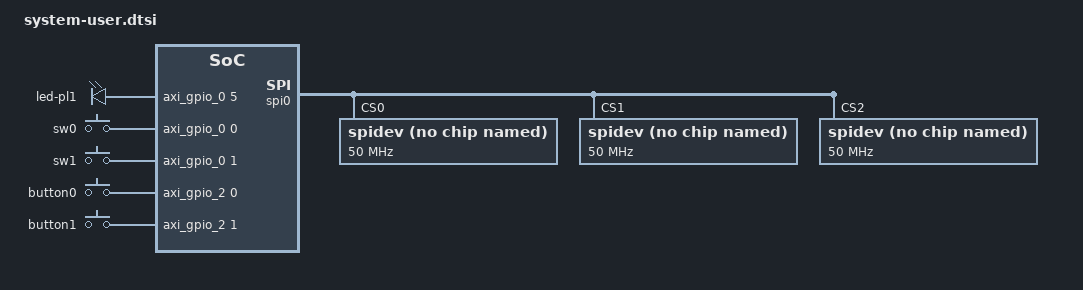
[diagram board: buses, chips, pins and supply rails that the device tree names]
/include/ "system-conf.dtsi"
#include <dt-bindings/phy/phy.h>
/ {
	gpio-leds {
    		compatible = "gpio-leds";
    		led-pl1 {
        		label = "led-pl1";
        		gpios = <&axi_gpio_0 5 0>;
        		default-state = "on";
        		linux,default-trigger = "heartbeat";
    		};
	};
	
	gpio-keys-polled {
    		compatible = "gpio-keys-polled";
    		poll-interval = <10>;
    		#address-cells = <1>;
    		#size-cells = <0>;
    		autorepeat;
    		sw0 {
        		label = "sw0";
        		gpios = <&axi_gpio_0 0 0>;
        		linux,code = <108>; /* down */
        		autorepeat;
    		};
    		sw1 {
        		label = "sw1";
			gpios = <&axi_gpio_0 1 0>;
			linux,code = <103>; /* up */
			autorepeat;
    		};
	};
	
	gpio-keys {
    		compatible = "gpio-keys";
	    	#address-cells = <1>;
	    	#size-cells = <0>;
	    	autorepeat;
	    	button0 {
			label = "button0";
			gpios = <&axi_gpio_2 0 0>;
			linux,code = <108>; /* down */
			gpio-key,wakeup;
			autorepeat;
	    	};
	    	button1 {
			label = "button1";
			gpios = <&axi_gpio_2 1 0>;
			linux,code = <103>; /* up */
			gpio-key,wakeup;
			autorepeat;
	    	};
	};
};

&spi0 {
	status = "okay";
	spidev@0x00 {
		compatible = "rohm,dh2228fv";
		spi-max-frequency = <50000000>;
		reg = <0>;
		};
	spidev@0x01 {
		compatible = "rohm,dh2228fv";
		spi-max-frequency = <50000000>;
		reg = <1>;
		};
	spidev@0x02 {
		compatible = "rohm,dh2228fv";
		spi-max-frequency = <50000000>;
		reg = <2>;
		};
};


&axi_gpio_0 {
	gpio-line-names = "SW0", "SW1", "SW2", "SW3",
			  "LED0", "LED1", "LED2", "LED3";
};

&axi_gpio_1 {
	gpio-line-names = "RGB0_R", "RGB0_G", "RGB0_B",
			  "RGB1_R", "RGB1_G", "RGB1_B";
};

